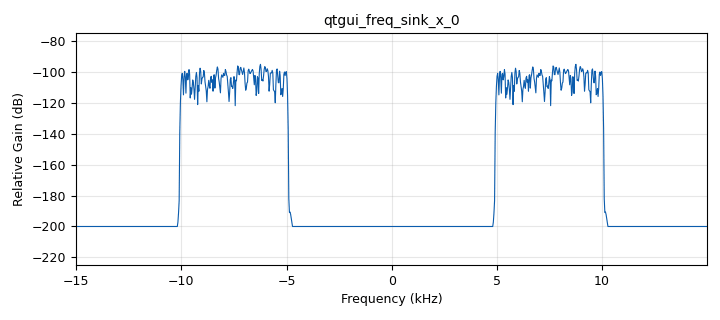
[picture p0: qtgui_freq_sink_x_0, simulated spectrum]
<?xml version='1.0' encoding='utf-8'?>
<?grc format='1' created='3.7.10'?>
<flow_graph>
<block>
<key>options</key>
<param><key>id</key><value>createNoise</value></param>
<param><key>author</key><value>Alexandros-Apostolos A. Boulogeorgos</value></param>
<param><key>description</key><value>Import python modules in gnuradio</value></param>
<param><key>generate_options</key><value>qt_gui</value></param>
<param><key>title</key><value>Create colored noise</value></param>
</block>
<block>
<key>variable_qtgui_entry</key>
<param><key>id</key><value>bandwidth_Hz</value></param>
<param><key>value</key><value>5000</value></param>
<param><key>gui_hint</key><value>tab@0:0,1,1,1</value></param>
<param><key>label</key><value>Bandwidth (Hz)</value></param>
<param><key>type</key><value>real</value></param>
</block>
<block>
<key>variable_qtgui_entry</key>
<param><key>id</key><value>centerFreq_Hz</value></param>
<param><key>value</key><value>7500</value></param>
<param><key>gui_hint</key><value>tab@0:0,0,1,1</value></param>
<param><key>label</key><value>Center Frequency (Hz)</value></param>
<param><key>type</key><value>real</value></param>
</block>
<block>
<key>variable_qtgui_entry</key>
<param><key>id</key><value>numSamples</value></param>
<param><key>value</key><value>1000000</value></param>
<param><key>gui_hint</key><value>tab@0:0,3,1,1</value></param>
<param><key>label</key><value>Number of Points</value></param>
<param><key>type</key><value>int</value></param>
</block>
<block>
<key>variable</key>
<param><key>id</key><value>samp_rate</value></param>
<param><key>value</key><value>sampleRate_Hz</value></param>
</block>
<block>
<key>variable_qtgui_entry</key>
<param><key>id</key><value>sampleRate_Hz</value></param>
<param><key>value</key><value>30000</value></param>
<param><key>gui_hint</key><value>tab@0:0,2,1,1</value></param>
<param><key>label</key><value>Sample Rate (Hz)</value></param>
<param><key>type</key><value>int</value></param>
</block>
<block>
<key>blocks_throttle</key>
<param><key>id</key><value>blocks_throttle_0</value></param>
<param><key>samples_per_second</key><value>samp_rate</value></param>
<param><key>type</key><value>complex</value></param>
<param><key>vlen</key><value>numSamples</value></param>
</block>
<block>
<key>blocks_vector_source_x</key>
<param><key>id</key><value>blocks_vector_source_x_0</value></param>
<param><key>type</key><value>complex</value></param>
<param><key>repeat</key><value>True</value></param>
<param><key>vlen</key><value>numSamples</value></param>
<param><key>vector</key><value>create_noise.createNoise(centerFreq_Hz, bandwidth_Hz, sampleRate_Hz, numSamples)</value></param>
</block>
<block>
<key>blocks_vector_to_stream</key>
<param><key>id</key><value>blocks_vector_to_stream_0</value></param>
<param><key>type</key><value>complex</value></param>
<param><key>num_items</key><value>numSamples</value></param>
</block>
<block>
<key>epy_module</key>
<param><key>id</key><value>create_noise</value></param>
<param><key>source_code</key><value># this module will be imported in the into your flowgraph
import cmath
import numpy as np

# When playing noise against a captured signal, it is often convenient
# to create the noise by specifying number of samples needed and sample
# rate of target signal.  The function createNoise() provides this.
#
# Mike Markowski, mike.ab3ap@gmail.com
# Feb 10, 2015

# cart2pol
#
# Convert arrays of cartesian coordinates to arrays of polar coordinates.

def cart2pol(x, y):
    rho = np.hypot(x, y)
    phi = np.arctan2(y, x)
    return phi, rho

# pol2cart
#
# Convert arrays of polar coordinates to arrays of cartesian coordinates.

def pol2cart(rho, phi):
    x = rho * np.cos(phi)
    y = rho * np.sin(phi)
    return x, y

# Generate a Gauusian noise waveform based on number of samples needed.
#
# Create white Gaussian noise.
# Using input properties, creates noise curve.
# Input: desired noise properties.
# Output: noise curve as described by intputs.
#
# Based on Matlab code by Vikas Singh.

def createNoise(centerFreq_Hz, bandwidth_Hz, sampleRate_Hz, numSamples):
    
    toneGap = float(bandwidth_Hz) / sampleRate_Hz # Gap between noise samples.
    
    # Make noise tones of magnitude 1 in freq domain, centered at 0 Hz:
    # 1 ---+          +---
    #      |          |
    # 0    +----------+
    
    halfBwSamples = int(toneGap * numSamples) / 2 # WHAT IF ODD????
    noiseTones = np.ones(numSamples)
    noiseTones[halfBwSamples : 1 + numSamples - halfBwSamples] = 0
    
    # Random phase noise, -pi to pi radians, for each noise tone.
    randomPhase = np.pi * (2 * np.random.rand(numSamples) - 1)
    
    # Convert polar mag/phase to Cartesian.
    x, y = pol2cart(noiseTones, randomPhase)
    c = np.vectorize(complex)(x, y)
    # Move to time domain.
    timeDomSig = np.fft.ifft(c)
    
    # Mix to user specified center frequency.
    if centerFreq_Hz != 0:
        t = np.arange(numSamples) / float(sampleRate_Hz)
        centerSig = np.cos(2 * np.pi * t * centerFreq_Hz)
        timeDomSig *= centerSig
    
    #   If IQ needed to feed to ARB, use following line
    #   IQdata = real(timeDomSig), imag(timeDomSig)
    #   return IQdata
    
    return timeDomSig
</value></param>
</block>
<block>
<key>qtgui_freq_sink_x</key>
<param><key>id</key><value>qtgui_freq_sink_x_0</value></param>
<param><key>bw</key><value>samp_rate</value></param>
<param><key>fc</key><value>0</value></param>
<param><key>fftsize</key><value>1024</value></param>
<param><key>gui_hint</key><value>tab@0:1,0,1,4</value></param>
<param><key>grid</key><value>True</value></param>
<param><key>showports</key><value>True</value></param>
<param><key>type</key><value>complex</value></param>
<param><key>wintype</key><value>firdes.WIN_BLACKMAN_hARRIS</value></param>
<param><key>ymax</key><value>-75</value></param>
<param><key>ymin</key><value>-225</value></param>
</block>
<block>
<key>qtgui_tab_widget</key>
<param><key>id</key><value>tab</value></param>
<param><key>label0</key><value>AWGN</value></param>
<param><key>num_tabs</key><value>1</value></param>
</block>
<connection><source_block_id>blocks_throttle_0</source_block_id><sink_block_id>blocks_vector_to_stream_0</sink_block_id><source_key>0</source_key><sink_key>0</sink_key></connection>
<connection><source_block_id>blocks_vector_source_x_0</source_block_id><sink_block_id>blocks_throttle_0</sink_block_id><source_key>0</source_key><sink_key>0</sink_key></connection>
<connection><source_block_id>blocks_vector_to_stream_0</source_block_id><sink_block_id>qtgui_freq_sink_x_0</sink_block_id><source_key>0</source_key><sink_key>0</sink_key></connection>
</flow_graph>
